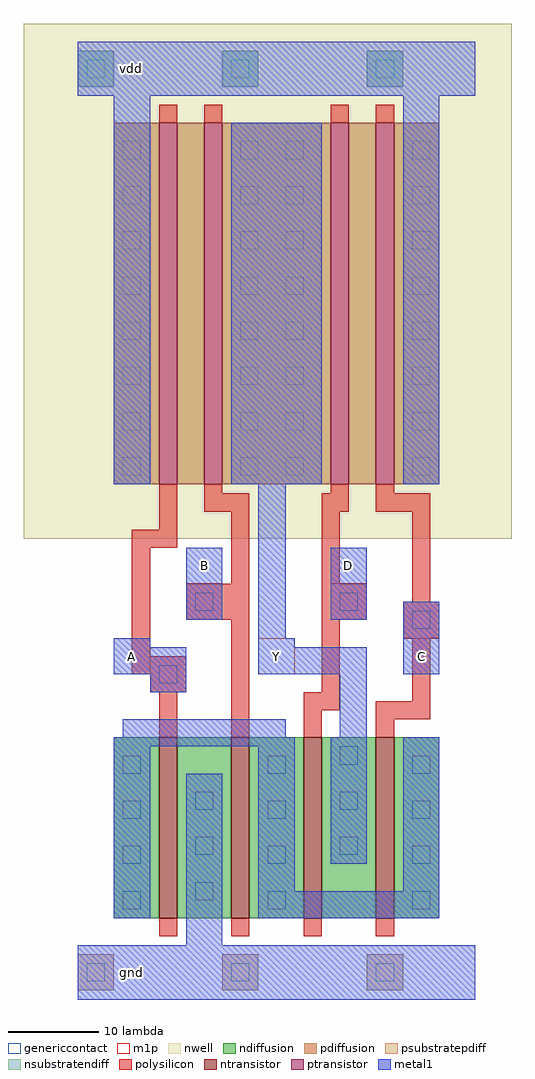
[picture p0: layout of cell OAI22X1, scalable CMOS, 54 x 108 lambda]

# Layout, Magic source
magic
tech scmos
<< nwell >>
rect -8 48 46 105
<< ntransistor >>
rect 7 6 9 26
rect 15 6 17 26
rect 23 6 25 26
rect 31 6 33 26
<< ptransistor >>
rect 7 54 9 94
rect 12 54 14 94
rect 26 54 28 94
rect 31 54 33 94
<< ndiffusion >>
rect 2 6 7 26
rect 9 6 15 26
rect 17 6 23 26
rect 25 6 31 26
rect 33 6 38 26
<< pdiffusion >>
rect 2 54 7 94
rect 9 54 12 94
rect 14 54 26 94
rect 28 54 31 94
rect 33 54 38 94
<< psubstratepdiff >>
rect -2 -2 2 2
rect 14 -2 18 2
rect 30 -2 34 2
<< nsubstratendiff >>
rect -2 98 2 102
rect 14 98 18 102
rect 30 98 34 102
<< polysilicon >>
rect 7 94 9 96
rect 12 94 14 96
rect 26 94 28 96
rect 31 94 33 96
rect 7 49 9 54
rect 12 53 14 54
rect 26 53 28 54
rect 12 51 17 53
rect 4 47 9 49
rect 4 35 6 47
rect 15 43 17 51
rect 10 39 17 43
rect 4 33 10 35
rect 6 31 10 33
rect 7 26 9 31
rect 15 26 17 39
rect 25 51 28 53
rect 31 53 33 54
rect 31 51 37 53
rect 25 43 27 51
rect 25 39 30 43
rect 35 41 37 51
rect 25 31 27 39
rect 34 37 38 41
rect 23 29 27 31
rect 35 30 37 37
rect 23 26 25 29
rect 31 28 37 30
rect 31 26 33 28
rect 7 4 9 6
rect 15 4 17 6
rect 23 4 25 6
rect 31 4 33 6
<< genericcontact >>
rect -1 99 1 101
rect 15 99 17 101
rect 31 99 33 101
rect 3 90 5 92
rect 16 90 18 92
rect 21 90 23 92
rect 35 90 37 92
rect 3 85 5 87
rect 16 85 18 87
rect 21 85 23 87
rect 35 85 37 87
rect 3 80 5 82
rect 16 80 18 82
rect 21 80 23 82
rect 35 80 37 82
rect 3 75 5 77
rect 16 75 18 77
rect 21 75 23 77
rect 35 75 37 77
rect 3 70 5 72
rect 16 70 18 72
rect 21 70 23 72
rect 35 70 37 72
rect 3 65 5 67
rect 16 65 18 67
rect 21 65 23 67
rect 35 65 37 67
rect 3 60 5 62
rect 16 60 18 62
rect 21 60 23 62
rect 35 60 37 62
rect 3 55 5 57
rect 16 55 18 57
rect 21 55 23 57
rect 35 55 37 57
rect 11 40 13 42
rect 27 40 29 42
rect 35 38 37 40
rect 7 32 9 34
rect 3 22 5 24
rect 19 22 21 24
rect 27 23 29 25
rect 35 22 37 24
rect 3 17 5 19
rect 11 18 13 20
rect 19 17 21 19
rect 27 18 29 20
rect 35 17 37 19
rect 3 12 5 14
rect 11 13 13 15
rect 19 12 21 14
rect 27 13 29 15
rect 35 12 37 14
rect 3 7 5 9
rect 11 8 13 10
rect 19 7 21 9
rect 35 7 37 9
rect -1 -1 1 1
rect 15 -1 17 1
rect 31 -1 33 1
<< metal1 >>
rect -2 97 42 103
rect 2 54 6 97
rect 15 54 25 94
rect 34 54 38 97
rect 10 39 14 47
rect 18 37 21 54
rect 26 39 30 47
rect 2 36 6 37
rect 18 36 22 37
rect 2 33 10 36
rect 18 33 30 36
rect 34 33 38 41
rect 6 31 10 33
rect 3 26 21 28
rect 27 26 30 33
rect 2 25 22 26
rect 2 6 6 25
rect 10 3 14 22
rect 18 9 22 25
rect 26 12 30 26
rect 34 9 38 26
rect 18 6 38 9
rect -2 -3 42 3
<< m1p >>
rect 10 43 14 47
rect 26 43 30 47
rect 2 33 6 37
rect 18 33 22 37
rect 34 33 38 37
<< labels >>
rlabel metal1 4 0 4 0 8 gnd
rlabel metal1 4 100 4 100 6 vdd
rlabel metal1 28 45 28 45 6 D
rlabel metal1 36 35 36 35 6 C
rlabel metal1 4 35 4 35 6 A
rlabel metal1 12 45 12 45 6 B
rlabel metal1 20 35 20 35 6 Y
<< end >>
